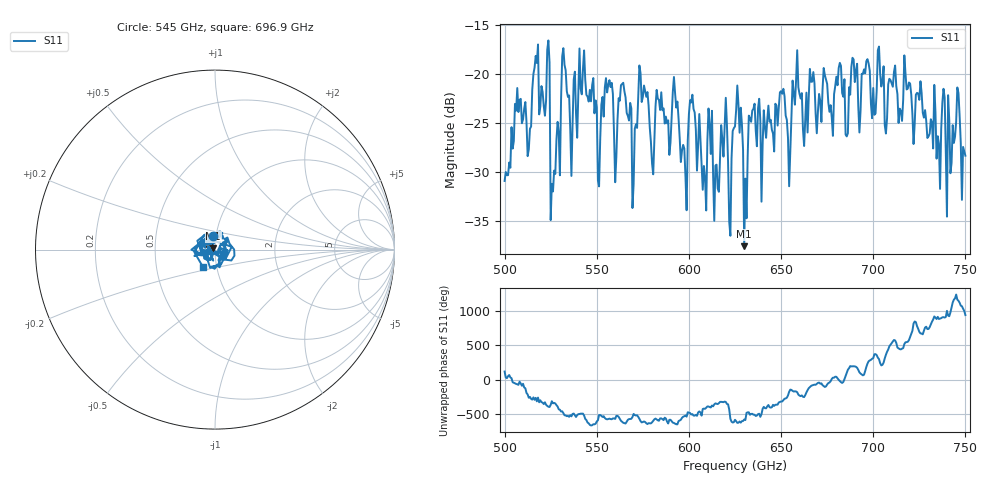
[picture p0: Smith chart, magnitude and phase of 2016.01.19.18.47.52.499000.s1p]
!Created with skrf (http://scikit-rf.org).
# GHz S RI R 50.0
!freq ReS11 ImS11
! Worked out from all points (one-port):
!   401 points, 500 GHz to 750 GHz, reference 50 ohm
!   lowest |S11| = -37.6 dB at 630 GHz (marker M1), VSWR 1.03, Z = 48.9 + j0.772 ohm
!   |S11| at or under -10 dB: start of sweep to end of sweep
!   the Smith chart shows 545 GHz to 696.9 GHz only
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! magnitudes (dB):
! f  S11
! 500 GHz  -30.9
! 506.9 GHz  -21.5
! 513.1 GHz  -27.7
! 516.9 GHz  -18.2
! 523.1 GHz  -17.6
! 526.2 GHz  -32.0
! 531.2 GHz  -18.2
! 541.9 GHz  -22.1
! 551.2 GHz  -31.5
! 562.5 GHz  -22.8
! 570.6 GHz  -25.6
! 574.4 GHz  -22.9
! 580 GHz  -29.2
! 593.8 GHz  -22.8
! 597.5 GHz  -27.6
! 601.9 GHz  -22.1
! 608.1 GHz  -29.4
! 611.2 GHz  -25.2
! 615 GHz  -29.3
! 618.8 GHz  -28.5
! 622.5 GHz  -36.5
! 625 GHz  -25.4
! 630 GHz  -37.6
! 634.4 GHz  -23.8
! 656.2 GHz  -20.7
! 687.5 GHz  -22.1
! 718.8 GHz  -21.5
! 750 GHz  -28.4
